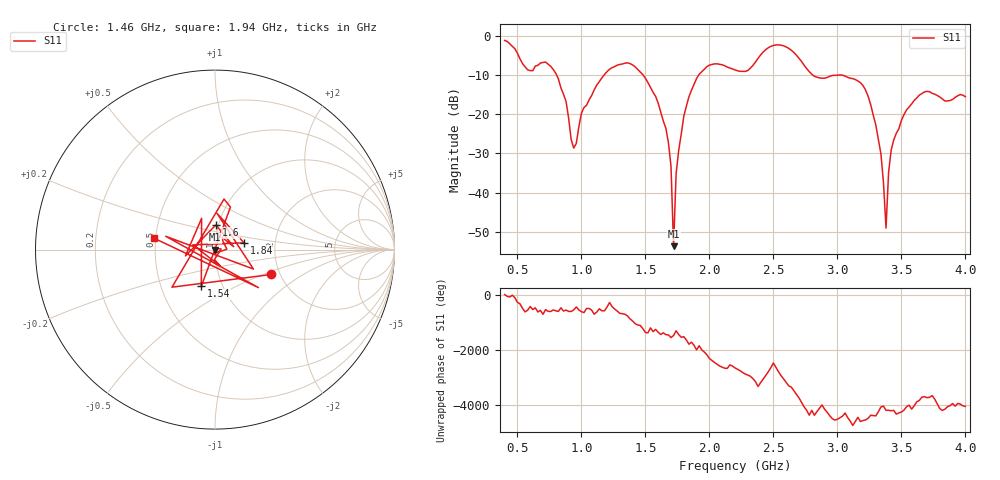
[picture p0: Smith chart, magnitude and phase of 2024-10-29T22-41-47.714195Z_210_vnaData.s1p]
!Created with skrf (http://scikit-rf.org).
# Hz S RI R 50.0
!freq ReS11 ImS11
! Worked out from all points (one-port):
!   181 points, 400 MHz to 4 GHz, reference 50 ohm
!   lowest |S11| = -53.6 dB at 1.72 GHz (marker M1), VSWR 1.00, Z = 50.2 - j0.104 ohm
!   |S11| at or under -10 dB: 805.6 MHz to 1.178 GHz (372.7 MHz wide, 37.6 % of centre); 1.481 GHz to 1.917 GHz (435.9 MHz wide, 25.7 % of centre); 2.806 GHz to end of sweep
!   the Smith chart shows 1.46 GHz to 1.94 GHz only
!   S11 on the Smith chart (normalised r, x): 1.46 GHz: 1.80, -0.57; 1.54 GHz: 0.79, -0.34; 1.6 GHz: 0.97, +0.27; 1.84 GHz: 1.38, +0.11; 1.94 GHz: 0.49, +0.07
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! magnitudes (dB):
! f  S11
! 400 MHz  -1.2
! 580 MHz  -8.7
! 760 MHz  -7.8
! 860 MHz  -14.9
! 940 MHz  -28.7
! 1.02 GHz  -18.3
! 1.3 GHz  -7.3
! 1.46 GHz  -9.3
! 1.54 GHz  -13.2
! 1.6 GHz  -17.2
! 1.7 GHz  -33.3
! 1.72 GHz  -53.6
! 1.74 GHz  -35.2
! 1.76 GHz  -29.3
! 1.84 GHz  -15.6
! 1.94 GHz  -9.2
! 2.2 GHz  -8.7
! 2.66 GHz  -4.3
! 2.82 GHz  -10.4
! 3.1 GHz  -10.8
! 3.22 GHz  -13.9
! 3.3 GHz  -22.8
! 3.34 GHz  -30.1
! 3.38 GHz  -49.0
! 3.4 GHz  -34.8
! 3.42 GHz  -29.2
! 3.56 GHz  -18.2
! 4 GHz  -15.6
